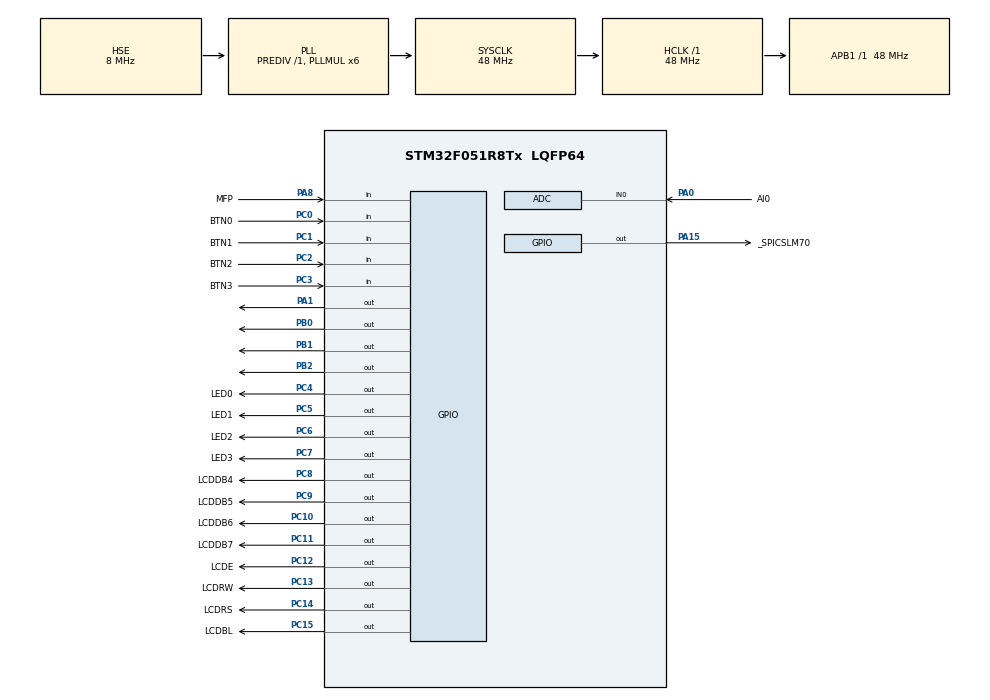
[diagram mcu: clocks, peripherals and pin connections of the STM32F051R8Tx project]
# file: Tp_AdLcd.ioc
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Mcu.Family=STM32F0
Mcu.Name=STM32F051R8Tx
Mcu.Package=LQFP64
NVIC.TIM6_DAC_IRQn=true\:0\:0\:false\:false\:true\:true\:true
PA0.GPIO_Label=AI0
PA0.Signal=SharedAnalog_PA0
PA1.Signal=GPIO_Output
PA10.GPIO_Label=USART1RX
PA10.Signal=USART1_RX
PA11.GPIO_Label=USART1CTS
PA11.Signal=USART1_CTS
PA12.GPIO_Label=USART1RTS
PA12.Signal=USART1_RTS
PA13.Mode=Serial_Wire
PA13.Signal=SYS_SWDIO
PA14.Mode=Serial_Wire
PA14.Signal=SYS_SWCLK
PA15.GPIO_Label=_SPICSLM70
PA15.PinState=GPIO_PIN_SET
PA15.Signal=GPIO_Output
PA5.GPIO_Label=SPISCK
PA5.Signal=SPI1_SCK
PA6.GPIO_Label=SPIMISO
PA6.Signal=SPI1_MISO
PA7.GPIO_Label=SPIMOSI
PA7.Signal=SPI1_MOSI
PA8.GPIO_Label=MFP
PA8.Signal=GPIO_Input
PA9.GPIO_Label=USART1TX
PA9.Signal=USART1_TX
PB0.Signal=GPIO_Output
PB1.Signal=GPIO_Output
PB2.Signal=GPIO_Output
PC0.GPIO_Label=BTN0
PC0.Signal=GPIO_Input
PC1.GPIO_Label=BTN1
PC1.Signal=GPIO_Input
PC10.GPIO_Label=LCDDB6
PC10.Signal=GPIO_Output
PC11.GPIO_Label=LCDDB7
PC11.Signal=GPIO_Output
PC12.GPIO_Label=LCDE
PC12.Signal=GPIO_Output
PC13.GPIO_Label=LCDRW
PC13.Signal=GPIO_Output
PC14-OSC32_IN.GPIO_Label=LCDRS
PC14-OSC32_IN.Signal=GPIO_Output
PC15-OSC32_OUT.GPIO_Label=LCDBL
PC15-OSC32_OUT.Signal=GPIO_Output
PC2.GPIO_Label=BTN2
PC2.Signal=GPIO_Input
PC3.GPIO_Label=BTN3
PC3.Signal=GPIO_Input
PC4.GPIO_Label=LED0
PC4.PinState=GPIO_PIN_SET
PC4.Signal=GPIO_Output
PC5.GPIO_Label=LED1
PC5.PinState=GPIO_PIN_SET
PC5.Signal=GPIO_Output
PC6.GPIO_Label=LED2
PC6.PinState=GPIO_PIN_SET
PC6.Signal=GPIO_Output
PC7.GPIO_Label=LED3
PC7.PinState=GPIO_PIN_SET
PC7.Signal=GPIO_Output
PC8.GPIO_Label=LCDDB4
PC8.Signal=GPIO_Output
PC9.GPIO_Label=LCDDB5
PC9.Signal=GPIO_Output
PF0-OSC_IN.GPIO_Label=OSCIN
PF0-OSC_IN.Mode=HSE-External-Oscillator
PF0-OSC_IN.Signal=RCC_OSC_IN
PF1-OSC_OUT.GPIO_Label=OSCOUT
PF1-OSC_OUT.Mode=HSE-External-Oscillator
PF1-OSC_OUT.Signal=RCC_OSC_OUT
PF6.Signal=I2C2_SCL
PF7.Signal=I2C2_SDA
ProjectManager.HeapSize=0x200
ProjectManager.StackSize=0x400
ProjectManager.TargetToolchain=MDK-ARM V5
RCC.AHBFreq_Value=48000000
RCC.APB1Freq_Value=48000000
RCC.APB1TimFreq_Value=48000000
RCC.EnbaleCSS=true
RCC.HCLKFreq_Value=48000000
RCC.PLLMUL=RCC_PLL_MUL6
RCC.PLLSourceVirtual=RCC_PLLSOURCE_HSE
RCC.SYSCLKFreq_VALUE=48000000
RCC.SYSCLKSource=RCC_SYSCLKSOURCE_PLLCLK
SH.SharedAnalog_PA0.0=GPIO_Analog
SH.SharedAnalog_PA0.1=ADC_IN0,IN0
TIM6.Period=4999
TIM6.Prescaler=47
VP_TIM6_VS_ClockSourceINT.Mode=Enable_Timer
board=test01_blink

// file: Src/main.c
/* USER CODE BEGIN Header */
/**
  ******************************************************************************
  * @file           : main.c
  * @brief          : Main program body
  ******************************************************************************
  * @attention
  *
  * <h2><center>&copy; Copyright (c) 2020 STMicroelectronics.
  * All rights reserved.</center></h2>
  *
  * This software component is licensed by ST under BSD 3-Clause license,
  * the "License"; You may not use this file except in compliance with the
  * License. You may obtain a copy of the License at:
  *                        opensource.org/licenses/BSD-3-Clause
  *
  ******************************************************************************
  */
/* USER CODE END Header */
#include "main.h"
#include "adc.h"
#include "tim.h"
#include "gpio.h"

/* USER CODE BEGIN Includes */

#include "17400.h"
#include "stm32delays.h"
#include "stm32driverlcd.h"

/* USER CODE END Includes */

/* USER CODE BEGIN PTD */
//typedef enum {Intialisation = 1, Execution = 2, Attente = 3}State;
//typedef enum {OneDigi = 1, TwoDigi = 2, ThreeDigi = 3, FourDigi = 4}NbrDigi;
/* USER CODE END PTD */

/* USER CODE BEGIN PV */
uint8_t Etat = Intialisation;;
uint8_t Fin_Init = 0;
uint8_t Calibration = 0;
uint8_t Calibration_1 = 0;
uint8_t One = 0;
uint8_t Two = 0;
uint8_t Three = 0;
uint8_t Four = 0;
uint16_t Unite;
uint16_t Dixaines;
uint16_t Centaines;
uint16_t Millier;
uint16_t ValLimit1;
uint16_t ValLimit2;
uint16_t valVref_mV = V_ALIM;
uint16_t Count = 0;
uint16_t Compteur = 0;
/* USER CODE END PV */

void SystemClock_Config(void);

/* USER CODE BEGIN 0 */

// ----------------------------------------------------------------
// Conversion tension de LSB en mV. Utilise la variable globale "valVref_mV"
// 0 -> 0 mV
// 4095 -> 3300 mV
uint16_t ConvAdcMilliVolt(uint16_t nLsb)
{

	nLsb = (nLsb*80566)/100000;
	//nLsb = (nLsb*8)/10;

	return(nLsb);
}

// ----------------------------------------------------------------
// Conversion de mV en chaine de caractères (ou structure) exprimée
// en V sur nDigits digits. Prévu pour tension entre 0 et 3,3V (=> u_mV entre 0 et 3300).
// La sortie contiendra donc unité + évt point décimal, dixièmes, centièmes, millièmes,
//  selon le nb de digits demandés.
void ConvMilliVoltVolt(uint16_t u_mV, uint8_t nDigits, S_nbrReel* X)
{
	// *** A COMPLETER ! ***
	Unite = u_mV/1000;

	ValLimit1 = u_mV - (Unite*1000);
	Dixaines = ValLimit1/100;

	ValLimit2 = ValLimit1 - (Dixaines*100);
	Centaines = ValLimit2/10;

	Millier = ValLimit2 - (Centaines*10);

	switch(nDigits)
	{
		case 1 :
			if(Dixaines >= 5)
			{
				Unite = Unite + 1;
			}
			X->unite = Unite;

			break;

		case 2 :
			if(Centaines >= 5)
			{
				if(Dixaines == 9)
				{
					Dixaines = 0;
					Unite = Unite + 1;
				}
				else
				{
					Dixaines = Dixaines + 1;
				}
			}
			X->unite = Unite;
			X->dixieme = Dixaines;
			break;

		case 3 :
			if(Millier >= 5)
			{
				if(Centaines == 9)
				{
					Centaines = 0;
					Dixaines = Dixaines + 1;
				}
				else
				{
					Centaines = Centaines + 1;
				}
			}
			X->unite = Unite;
			X->dixieme = Dixaines;
			X->centieme = Centaines;

			break;

		case 4 :
			X->unite = Unite;
			X->dixieme = Dixaines;
			X->centieme = Centaines;
			X->millieme = Millier;

			break;

		default :
		break;
	}

}

// ----------------------------------------------------------------
// *** ADC ***

// Lecture d'un canal AD par polling
// Il faut auparavant avoir configuré la/les pin(s) concernée(s) en entrée analogique
uint16_t Adc_read(uint8_t chNr)
{
	  uint16_t ValRetour;
		hadc.Instance->CHSELR = ADC_CHSELR_CHANNEL(chNr);

		HAL_ADC_Start(&hadc);
		HAL_ADC_PollForConversion(&hadc, HAL_MAX_DELAY);
		ValRetour = HAL_ADC_GetValue(&hadc);
		HAL_ADC_Stop(&hadc);
		return(ValRetour);
}

// ----------------------------------------------------------------

/* USER CODE END 0 */

int main(void)
{
  /* USER CODE BEGIN 1 */
	//variables
	// *** A COMPLETER ! ***
	uint8_t Btn0;
	uint8_t Btn0_Old;
	uint8_t Btn1;
	uint8_t Btn1_Old;
	uint8_t Btn2;
	uint8_t Btn2_Old;
	uint8_t Btn3;
	uint8_t Btn3_Old;
	uint8_t Count_Btn0 = 0;
	uint8_t Count_Digit = 0;
	uint16_t ValBrute = 0;
	uint16_t ValMiliVolt = 0;
	S_nbrReel ValVolt;

	S_nbrReel structure;
	//init
	// *** A COMPLETER ! ***

  /* USER CODE END 1 */

  /* MCU Configuration--------------------------------------------------------*/

  /* Reset of all peripherals, Initializes the Flash interface and the Systick. */
  HAL_Init();

  /* Configure the system clock */
  SystemClock_Config();

  /* Initialize all configured peripherals */
  MX_GPIO_Init();
  MX_ADC_Init();
  MX_TIM6_Init();
  /* USER CODE BEGIN 2 */
	HAL_TIM_Base_Start_IT(&htim6);

	Btn0_Old = HAL_GPIO_ReadPin(BTN0_PORT, BTN0_BIT);
	Btn1_Old = HAL_GPIO_ReadPin(BTN1_PORT, BTN1_BIT);
	Btn2_Old = HAL_GPIO_ReadPin(BTN2_PORT, BTN2_BIT);
	Btn3_Old = HAL_GPIO_ReadPin(BTN3_PORT, BTN3_BIT);

  /* USER CODE END 2 */

  /* Infinite loop */
  while (1)
  {

    /* USER CODE BEGIN 3 */
		/*Allumer les LEDs LED0 a LED3*/
		HAL_GPIO_WritePin(LED0_PORT, LED0_BIT, GPIO_PIN_RESET);
		HAL_GPIO_WritePin(LED1_PORT, LED1_BIT, GPIO_PIN_RESET);
		HAL_GPIO_WritePin(LED2_PORT, LED2_BIT, GPIO_PIN_RESET);
		HAL_GPIO_WritePin(LED3_PORT, LED3_BIT, GPIO_PIN_RESET);
		/*Affichage du message d'initialisation sur le LCD*/
		if(Calibration == 0)
		{
			HAL_ADCEx_Calibration_Start(&hadc);
			lcd_init();
			lcd_gotoxy(1,1);
			printf_lcd("TP7 AdLcd <2025>");
			lcd_gotoxy(1,2);
			printf_lcd("KGR HMT");
			lcd_bl_on();
		}
		Calibration = 1;
		// For mesurments Pin PA1 ON
		HAL_GPIO_WritePin(GPIOA, GPIO_PIN_1, GPIO_PIN_SET);
		// ------------Switch de calibration------------ //
		lcd_gotoxy(1,1);
		printf_lcd("R11 au maximum !");
		lcd_gotoxy(1, 2);

		// Si on appui sur le bouton 0, on diminue la valeur de la référence
		if((Btn1 != Btn0_Old) && (Btn1 == 0))
		{
			valVref_mV = valVref_mV - REGLAGE_VREF;
		}

		// Si on appui sur le bouton 2, on augmente la valeur de la référence
		if((Btn2 != Btn2_Old) && (Btn2 == 0))
		{
			valVref_mV = valVref_mV + REGLAGE_VREF;
		}

		// Update display with proper formatting
		lcd_clearLine(2);
		lcd_gotoxy(1, 2);
		printf_lcd("Vref: %d mV", valVref_mV);

		// For mesurments Pin PA1 OFF
		HAL_GPIO_WritePin(GPIOA, GPIO_PIN_1, GPIO_PIN_RESET);

		// Update old button states at the end of main loop
		Btn0_Old = Btn0;
		Btn1_Old = Btn1;
		Btn2_Old = Btn2;
		Btn3_Old = Btn3;
		Etat = Attente;
  }
  /* USER CODE END 3 */
}

void SystemClock_Config(void)
{
  RCC_OscInitTypeDef RCC_OscInitStruct = {0};
  RCC_ClkInitTypeDef RCC_ClkInitStruct = {0};

  /** Initializes the RCC Oscillators according to the specified parameters
  * in the RCC_OscInitTypeDef structure.
  */
  RCC_OscInitStruct.OscillatorType = RCC_OSCILLATORTYPE_HSI14|RCC_OSCILLATORTYPE_HSE;
  RCC_OscInitStruct.HSEState = RCC_HSE_ON;
  RCC_OscInitStruct.HSI14State = RCC_HSI14_ON;
  RCC_OscInitStruct.HSI14CalibrationValue = 16;
  RCC_OscInitStruct.PLL.PLLState = RCC_PLL_ON;
  RCC_OscInitStruct.PLL.PLLSource = RCC_PLLSOURCE_HSE;
  RCC_OscInitStruct.PLL.PLLMUL = RCC_PLL_MUL6;
  RCC_OscInitStruct.PLL.PREDIV = RCC_PREDIV_DIV1;
  if (HAL_RCC_OscConfig(&RCC_OscInitStruct) != HAL_OK)
  {
    Error_Handler();
  }
  /** Initializes the CPU, AHB and APB buses clocks
  */
  RCC_ClkInitStruct.ClockType = RCC_CLOCKTYPE_HCLK|RCC_CLOCKTYPE_SYSCLK
                              |RCC_CLOCKTYPE_PCLK1;
  RCC_ClkInitStruct.SYSCLKSource = RCC_SYSCLKSOURCE_PLLCLK;
  RCC_ClkInitStruct.AHBCLKDivider = RCC_SYSCLK_DIV1;
  RCC_ClkInitStruct.APB1CLKDivider = RCC_HCLK_DIV1;

  if (HAL_RCC_ClockConfig(&RCC_ClkInitStruct, FLASH_LATENCY_1) != HAL_OK)
  {
    Error_Handler();
  }
  /** Enables the Clock Security System
  */
  HAL_RCC_EnableCSS();
}

/* USER CODE BEGIN 4 */
void HAL_TIM_PeriodElapsedCallback(TIM_HandleTypeDef *htim)
{

	if(Fin_Init == 0)
	{
		if(Count < COUNT_MAX)
		{
			Count ++;
			//Etat = Intialisation;
		}
		else
		{
			Fin_Init = 1;
			Count = 0;

			Etat = Execution;
		}
	}
	if(Fin_Init == 1)
	{
		if(Compteur < COMPTEUR_MAX)
		{
		  Compteur ++;
		}
		else
		{
		  Compteur = 0;
			Etat = Execution;
		}
	}
}
/* USER CODE END 4 */

void Error_Handler(void)
{
}

/************************ (C) COPYRIGHT STMicroelectronics *****END OF FILE****/
